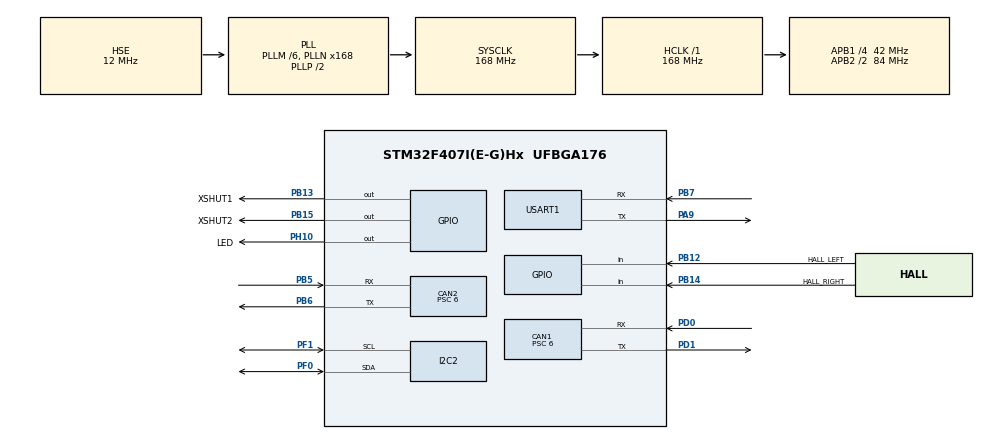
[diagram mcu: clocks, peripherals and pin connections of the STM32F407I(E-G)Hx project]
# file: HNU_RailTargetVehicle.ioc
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CAN1.ABOM=ENABLE
CAN1.BS1=CAN_BS1_5TQ
CAN1.CalculateBaudRate=1000000
CAN1.CalculateTimeBit=1000
CAN1.CalculateTimeQuantum=142.85714285714286
CAN1.NART=ENABLE
CAN1.Prescaler=6
CAN1.TXFP=ENABLE
CAN2.ABOM=ENABLE
CAN2.BS1=CAN_BS1_5TQ
CAN2.CalculateBaudRate=1000000
CAN2.CalculateTimeBit=1000
CAN2.CalculateTimeQuantum=142.85714285714286
CAN2.NART=ENABLE
CAN2.Prescaler=6
CAN2.TXFP=ENABLE
FREERTOS.Tasks01=defaultTask,24,128,StartDefaultTask,Default,NULL,Dynamic,NULL,NULL
I2C2.I2C_Mode=I2C_Fast
Mcu.Family=STM32F4
Mcu.Name=STM32F407I(E-G)Hx
Mcu.Package=UFBGA176
NVIC.CAN1_RX0_IRQn=true\:5\:0\:false\:false\:true\:true\:true\:true\:true
NVIC.CAN2_RX0_IRQn=true\:5\:0\:false\:false\:true\:true\:true\:true\:true
NVIC.EXTI15_10_IRQn=true\:5\:0\:true\:false\:true\:true\:true\:true\:true
NVIC.PriorityGroup=NVIC_PRIORITYGROUP_4
NVIC.TIM8_TRG_COM_TIM14_IRQn=true\:5\:0\:false\:false\:true\:true\:true\:true\:true
NVIC.USART1_IRQn=true\:5\:0\:false\:false\:true\:true\:true\:true\:true
PA13.Mode=Serial_Wire
PA13.Signal=SYS_JTMS-SWDIO
PA14.Mode=Serial_Wire
PA14.Signal=SYS_JTCK-SWCLK
PA9.Mode=Asynchronous
PA9.Signal=USART1_TX
PB12.GPIO_Label=HALL_LEFT
PB12.GPIO_PuPd=GPIO_PULLUP
PB12.Signal=GPIO_Input
PB13.GPIO_Label=XSHUT1
PB13.Signal=GPIO_Output
PB14.GPIO_Label=HALL_RIGHT
PB14.GPIO_PuPd=GPIO_PULLUP
PB14.Signal=GPIO_Input
PB15.GPIO_Label=XSHUT2
PB15.Signal=GPIO_Output
PB5.Mode=CAN_Activate
PB5.Signal=CAN2_RX
PB6.Mode=CAN_Activate
PB6.Signal=CAN2_TX
PB7.Mode=Asynchronous
PB7.Signal=USART1_RX
PD0.Mode=CAN_Activate
PD0.Signal=CAN1_RX
PD1.Mode=CAN_Activate
PD1.Signal=CAN1_TX
PF0.Mode=I2C
PF0.Signal=I2C2_SDA
PF1.Mode=I2C
PF1.Signal=I2C2_SCL
PH0-OSC_IN.Mode=HSE-External-Oscillator
PH0-OSC_IN.Signal=RCC_OSC_IN
PH1-OSC_OUT.Mode=HSE-External-Oscillator
PH1-OSC_OUT.Signal=RCC_OSC_OUT
PH10.GPIO_Label=LED
PH10.Signal=GPIO_Output
ProjectManager.HeapSize=0x200
ProjectManager.StackSize=0x400
ProjectManager.TargetToolchain=STM32CubeIDE
RCC.48MHZClocksFreq_Value=84000000
RCC.AHBFreq_Value=168000000
RCC.APB1CLKDivider=RCC_HCLK_DIV4
RCC.APB1Freq_Value=42000000
RCC.APB1TimFreq_Value=84000000
RCC.APB2CLKDivider=RCC_HCLK_DIV2
RCC.APB2Freq_Value=84000000
RCC.APB2TimFreq_Value=168000000
RCC.CortexFreq_Value=168000000
RCC.HCLKFreq_Value=168000000
RCC.HSE_VALUE=12000000
RCC.HSI_VALUE=16000000
RCC.LSE_VALUE=32768
RCC.PLLM=6
RCC.PLLN=168
RCC.PLLSourceVirtual=RCC_PLLSOURCE_HSE
RCC.SYSCLKFreq_VALUE=168000000
RCC.SYSCLKSource=RCC_SYSCLKSOURCE_PLLCLK
RCC.VCOOutputFreq_Value=336000000
TIM14.Period=1000-1
TIM14.Prescaler=168-1
USART1.VirtualMode=VM_ASYNC
VP_FREERTOS_VS_CMSIS_V2.Mode=CMSIS_V2
VP_TIM14_VS_ClockSourceINT.Mode=Enable_Timer
board=custom

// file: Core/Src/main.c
/* USER CODE BEGIN Header */
/**
  ******************************************************************************
  * @file           : main.c
  * @brief          : Main program body
  ******************************************************************************
  * @attention
  *
  * Copyright (c) 2026 STMicroelectronics.
  * All rights reserved.
  *
  * This software is licensed under terms that can be found in the LICENSE file
  * in the root directory of this software component.
  * If no LICENSE file comes with this software, it is provided AS-IS.
  *
  ******************************************************************************
  */
/* USER CODE END Header */
#include "main.h"
#include "cmsis_os.h"
#include "can.h"
#include "i2c.h"
#include "tim.h"
#include "usart.h"
#include "gpio.h"

/* USER CODE BEGIN Includes */
#include "BSP_CAN.h"
#include "Bluetooth/bluetooth.h"
#include "Indicator/indicator.h"
#include "TargetMotor/target_motor.h"
/* USER CODE END Includes */

void SystemClock_Config(void);
void MX_FREERTOS_Init(void);

int main(void)
{

  /* MCU Configuration--------------------------------------------------------*/

  /* Reset of all peripherals, Initializes the Flash interface and the Systick. */
  HAL_Init();

  /* Configure the system clock */
  SystemClock_Config();   /* DEBUG: 暂时跳过，用默认 HSI 16MHz 测试 */

  /* Initialize all configured peripherals */
  MX_GPIO_Init();
  MX_I2C2_Init();
  MX_USART1_UART_Init();
  MX_CAN1_Init();
  MX_CAN2_Init();
  MX_TIM14_Init();
  /* USER CODE BEGIN 2 */
  CAN_Start();
  Indicator_Init();
  Bluetooth_Init();
  TargetMotor_Init();
  /* USER CODE END 2 */

  /* Init scheduler */
  osKernelInitialize();  /* Call init function for freertos objects (in cmsis_os2.c) */
  MX_FREERTOS_Init();

  /* Start scheduler */
  osKernelStart();

  /* We should never get here as control is now taken by the scheduler */

  /* Infinite loop */
  while (1)
  {

  }
}

void SystemClock_Config(void)
{
  RCC_OscInitTypeDef RCC_OscInitStruct = {0};
  RCC_ClkInitTypeDef RCC_ClkInitStruct = {0};

  /** Configure the main internal regulator output voltage
  */
  __HAL_RCC_PWR_CLK_ENABLE();
  __HAL_PWR_VOLTAGESCALING_CONFIG(PWR_REGULATOR_VOLTAGE_SCALE1);

  /** Initializes the RCC Oscillators according to the specified parameters
  * in the RCC_OscInitTypeDef structure.
  */
  RCC_OscInitStruct.OscillatorType = RCC_OSCILLATORTYPE_HSE;
  RCC_OscInitStruct.HSEState = RCC_HSE_ON;
  RCC_OscInitStruct.PLL.PLLState = RCC_PLL_ON;
  RCC_OscInitStruct.PLL.PLLSource = RCC_PLLSOURCE_HSE;
  RCC_OscInitStruct.PLL.PLLM = 6;
  RCC_OscInitStruct.PLL.PLLN = 168;
  RCC_OscInitStruct.PLL.PLLP = RCC_PLLP_DIV2;
  RCC_OscInitStruct.PLL.PLLQ = 4;
  if (HAL_RCC_OscConfig(&RCC_OscInitStruct) != HAL_OK)
  {
    Error_Handler();
  }

  /** Initializes the CPU, AHB and APB buses clocks
  */
  RCC_ClkInitStruct.ClockType = RCC_CLOCKTYPE_HCLK|RCC_CLOCKTYPE_SYSCLK
                              |RCC_CLOCKTYPE_PCLK1|RCC_CLOCKTYPE_PCLK2;
  RCC_ClkInitStruct.SYSCLKSource = RCC_SYSCLKSOURCE_PLLCLK;
  RCC_ClkInitStruct.AHBCLKDivider = RCC_SYSCLK_DIV1;
  RCC_ClkInitStruct.APB1CLKDivider = RCC_HCLK_DIV4;
  RCC_ClkInitStruct.APB2CLKDivider = RCC_HCLK_DIV2;

  if (HAL_RCC_ClockConfig(&RCC_ClkInitStruct, FLASH_LATENCY_5) != HAL_OK)
  {
    Error_Handler();
  }
}

void Error_Handler(void)
{
  /* USER CODE BEGIN Error_Handler_Debug */
  /* User can add his own implementation to report the HAL error return state */
  Indicator_FaultLatch();
  __disable_irq();
  while (1)
  {
  }
  /* USER CODE END Error_Handler_Debug */
}

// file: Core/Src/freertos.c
/* USER CODE BEGIN Header */
/**
  ******************************************************************************
  * File Name          : freertos.c
  * Description        : Code for freertos applications
  ******************************************************************************
  * @attention
  *
  * Copyright (c) 2026 STMicroelectronics.
  * All rights reserved.
  *
  * This software is licensed under terms that can be found in the LICENSE file
  * in the root directory of this software component.
  * If no LICENSE file comes with this software, it is provided AS-IS.
  *
  ******************************************************************************
  */
/* USER CODE END Header */

#include "FreeRTOS.h"
#include "task.h"
#include "main.h"
#include "cmsis_os.h"

/* USER CODE BEGIN Includes */
#include "Bluetooth/bluetooth.h"
#include "Indicator/indicator.h"
#include "TargetMotor/target_motor.h"
#include "ranging_task.h"

/* USER CODE END Includes */

/* Definitions for defaultTask */
osThreadId_t defaultTaskHandle;
const osThreadAttr_t defaultTask_attributes = {
  .name = "defaultTask",
  .stack_size = 256 * 4,
  .priority = (osPriority_t) osPriorityNormal,
};

osThreadId_t rangingTaskHandle;
const osThreadAttr_t rangingTask_attributes = {
  .name = "hallTask",
  .stack_size = 512 * 4,
  .priority = (osPriority_t) osPriorityBelowNormal,
};

void StartDefaultTask(void *argument);

void MX_FREERTOS_Init(void); /* (MISRA C 2004 rule 8.1) */

void MX_FREERTOS_Init(void) {

  /* Create the thread(s) */
  /* creation of defaultTask */
  defaultTaskHandle = osThreadNew(StartDefaultTask, NULL, &defaultTask_attributes);

  /* USER CODE BEGIN RTOS_THREADS */
  rangingTaskHandle = osThreadNew(RangingTaskEntry, NULL, &rangingTask_attributes);
  /* USER CODE END RTOS_THREADS */

}

void StartDefaultTask(void *argument)
{
  /* USER CODE BEGIN StartDefaultTask */
  /* Infinite loop */
  for(;;)
  {
    Indicator_Process();
    Bluetooth_Process();
    TargetMotor_Process();
    osDelay(1);
  }
  /* USER CODE END StartDefaultTask */
}
